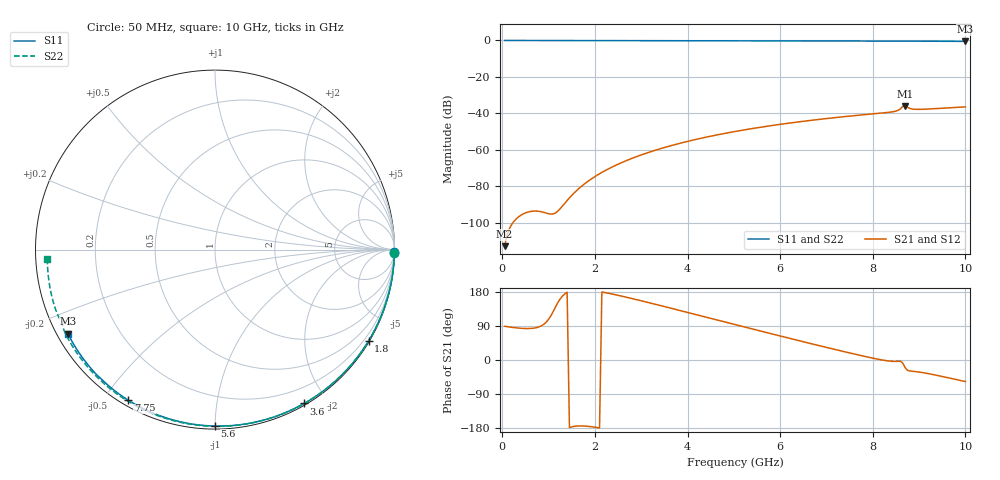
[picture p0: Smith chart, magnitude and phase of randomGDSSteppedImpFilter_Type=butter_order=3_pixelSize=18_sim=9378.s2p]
! freq	dB(S11)	phase(S11)	dB(S12)	phase(S12)
!  dB(S21)	phase(S21)	dB(S22)	phase(S22)
!S-par simulation data
#  GHz  S  DB  R 50
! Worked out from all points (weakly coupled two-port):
!   200 points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, 50 MHz to 10 GHz, reference 50 ohm
!   highest |S21| = -35.85 dB at 8.7 GHz (marker M1); lowest = -112.7 dB at 50 MHz (marker M2)
!   lowest |S11| = -0.5 dB at 10 GHz (marker M3), VSWR 34.61, Z = 1.55 - j13.3 ohm
!   |S11| at or under -10 dB: nowhere
!   |S22| runs from -0.6 to 0.0 dB; largest |S21 - S12| = 0
!   S11 on the Smith chart (normalised r, x): 50 MHz: open; 1.8 GHz: 0.03, -3.64; 3.6 GHz: 0.02, -1.73; 5.6 GHz: 0.02, -1.00; 7.75 GHz: 0.02, -0.58; 10 GHz: 0.03, -0.27
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0.05  -0.00 -0.9  -112.74 89.0  -112.74 89.0  -0.00 -1.0
0.85  -0.02 -14.7  -93.91 90.6  -93.91 90.6  -0.02 -17.2
1.7  -0.04 -29.1  -80.14 -174.0  -80.14 -174.0  -0.04 -34.0
1.75  -0.04 -29.9  -79.11 -174.1  -79.11 -174.1  -0.04 -34.9
1.8  -0.04 -30.7  -78.12 -174.5  -78.12 -174.5  -0.05 -35.9
2.1  -0.05 -35.7  -73.06 -179.4  -73.06 -179.4  -0.05 -41.7
2.5  -0.05 -42.3  -67.82 170.7  -67.82 170.7  -0.06 -49.4
2.9  -0.06 -48.8  -63.65 159.3  -63.65 159.3  -0.07 -56.9
3.4  -0.08 -56.8  -59.42 144.2  -59.42 144.2  -0.09 -66.1
3.6  -0.08 -59.9  -57.95 138.0  -57.95 138.0  -0.09 -69.7
4.3  -0.10 -70.7  -53.55 116.2  -53.55 116.2  -0.12 -82.2
5.05  -0.13 -82.0  -49.78 92.7  -49.78 92.7  -0.15 -95.1
5.6  -0.15 -90.0  -47.47 75.7  -47.47 75.7  -0.17 -104.4
6.7  -0.21 -105.6  -43.68 42.1  -43.68 42.1  -0.24 -122.5
7.75  -0.28 -119.9  -40.84 11.5  -40.84 11.5  -0.32 -139.5
8.35  -0.33 -128.0  -39.38 -2.8  -39.38 -2.8  -0.38 -149.3
8.55  -0.35 -130.7  -38.27 -3.3  -38.27 -3.3  -0.43 -152.8
8.65  -0.36 -132.0  -36.16 -8.5  -36.16 -8.5  -0.53 -154.3
8.7  -0.36 -132.6  -35.85 -20.4  -35.85 -20.4  -0.54 -154.7
8.8  -0.36 -134.0  -37.26 -29.0  -37.26 -29.0  -0.47 -156.2
8.95  -0.38 -136.1  -37.76 -30.9  -37.76 -30.9  -0.46 -158.8
10  -0.50 -150.3  -36.40 -56.9  -36.40 -56.9  -0.58 -176.9
